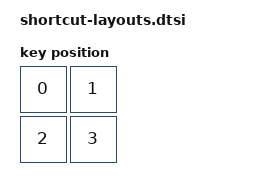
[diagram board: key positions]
#include <physical_layouts.dtsi>

/ {
    chosen {
        zmk,physical-layout = &physical_layout0;
        // Other chosen items
    };
};

/ {
    macropad_physical_layout: macropad_physical_layout {
        compatible = "zmk,physical-layout";
        display-name = "Macro Pad";
        transform = <&default_transform>;
        kscan = <&kscan0>;
        keys  //                     w   h    x    y     rot    rx    ry
            = <&key_physical_attrs 100 100    0    0       0     0     0>
            , <&key_physical_attrs 100 100  100    0       0     0     0>
            , <&key_physical_attrs 100 100    0  100       0     0     0>
            , <&key_physical_attrs 100 100  100  100       0     0     0>
            ;
    };
};
